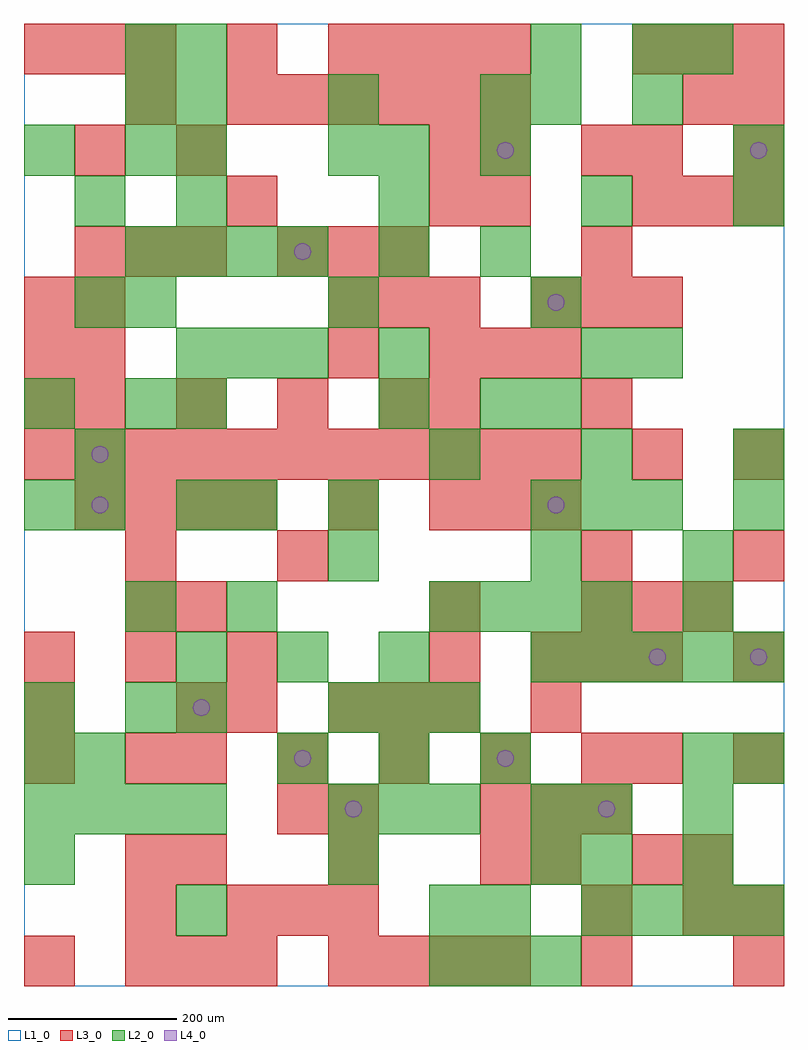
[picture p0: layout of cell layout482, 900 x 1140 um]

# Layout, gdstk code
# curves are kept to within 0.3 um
import gdstk
lib = gdstk.Library(unit=1e-6, precision=1e-09)
def R(c, l, rs):  # rectangles x0, y0, x1, y1
    for r in rs: c.add(gdstk.rectangle(r[:2], r[2:], *l))
def A(c, l, x, y, w, h, nx, ny, dx, dy):  # array of equal rectangles
    R(c, l, [(x+i*dx, y+j*dy, x+i*dx+w, y+j*dy+h) for i in range(nx) for j in range(ny)])
def P(c, l, *ps):  # polygons
    for p in ps: c.add(gdstk.Polygon(p, *l))
L1_0 = (1, 0)
L2_0 = (2, 0)
L3_0 = (3, 0)
L4_0 = (4, 0)

layout482 = lib.new_cell('layout482')
R(layout482, L1_0, [(0,0,900,1140)])
A(layout482, L2_0, 480, 0, 60, 60, 3, 1, 60, 0)
A(layout482, L2_0, 180, 60, 60, 60, 1, 3, 0, 240)
A(layout482, L2_0, 660, 60, 60, 60, 4, 1, 60, 0)
A(layout482, L2_0, 780, 120, 60, 60, 1, 3, 0, 60)
A(layout482, L2_0, 0, 180, 60, 60, 4, 1, 60, 0)
A(layout482, L2_0, 360, 180, 60, 60, 3, 2, 60, 120)
A(layout482, L2_0, 300, 240, 60, 60, 3, 1, 120, 0)
A(layout482, L2_0, 180, 360, 60, 60, 3, 1, 120, 0)
A(layout482, L2_0, 600, 360, 60, 60, 5, 1, 60, 0)
A(layout482, L2_0, 480, 420, 60, 60, 4, 1, 60, 0)
A(layout482, L2_0, 600, 540, 60, 60, 3, 1, 60, 0)
A(layout482, L2_0, 480, 600, 60, 60, 3, 1, 180, 0)
A(layout482, L2_0, 180, 720, 60, 60, 3, 1, 60, 0)
A(layout482, L2_0, 420, 720, 60, 60, 1, 3, 0, 120)
A(layout482, L2_0, 120, 780, 60, 60, 3, 1, 240, 0)
A(layout482, L2_0, 120, 840, 60, 60, 4, 1, 60, 0)
A(layout482, L2_0, 180, 900, 60, 60, 3, 1, 240, 0)
A(layout482, L2_0, 120, 960, 60, 60, 1, 3, 0, 60)
A(layout482, L2_0, 180, 1020, 60, 60, 3, 1, 180, 0)
R(layout482, L2_0, [(480,60,540,120), (540,60,600,120), (0,120,60,180), (360,120,420,180), (600,120,660,180), (660,120,720,180), (600,180,660,240), (660,180,720,240), (0,240,60,300), (60,240,120,300), (840,240,900,300), (0,300,60,360), (120,300,180,360), (120,420,180,480), (240,420,300,480), (780,420,840,480), (360,480,420,540), (600,480,660,540), (780,480,840,540), (0,540,60,600), (60,540,120,600), (240,540,300,600), (360,540,420,600), (840,540,900,600), (60,600,120,660), (0,660,60,720), (120,660,180,720), (180,660,240,720), (420,660,480,720), (540,660,600,720), (600,660,660,720), (660,720,720,780), (720,720,780,780), (60,780,120,840), (540,840,600,900), (60,900,120,960), (840,900,900,960), (0,960,60,1020), (180,960,240,1020), (360,960,420,1020), (540,960,600,1020), (840,960,900,1020), (600,1020,660,1080), (720,1020,780,1080), (180,1080,240,1140), (600,1080,660,1140), (720,1080,780,1140), (780,1080,840,1140)])
A(layout482, L3_0, 120, 0, 60, 60, 3, 1, 60, 0)
A(layout482, L3_0, 360, 0, 60, 60, 4, 2, 60, 1080)
A(layout482, L3_0, 240, 60, 60, 60, 3, 1, 60, 0)
A(layout482, L3_0, 180, 120, 60, 60, 3, 1, 180, 0)
A(layout482, L3_0, 540, 180, 60, 60, 3, 1, 60, 0)
A(layout482, L3_0, 180, 240, 60, 60, 5, 1, 120, 0)
A(layout482, L3_0, 720, 240, 60, 60, 1, 3, 0, 360)
A(layout482, L3_0, 840, 240, 60, 60, 1, 4, 0, 120)
A(layout482, L3_0, 360, 300, 60, 60, 3, 2, 60, 480)
A(layout482, L3_0, 0, 360, 60, 60, 3, 1, 120, 0)
A(layout482, L3_0, 600, 360, 60, 60, 3, 2, 60, 420)
A(layout482, L3_0, 480, 420, 60, 60, 1, 3, 0, 240)
A(layout482, L3_0, 660, 420, 60, 60, 3, 1, 60, 0)
A(layout482, L3_0, 660, 480, 60, 60, 1, 3, 0, 180)
A(layout482, L3_0, 60, 540, 60, 60, 4, 1, 60, 0)
A(layout482, L3_0, 480, 540, 60, 60, 3, 2, 60, 180)
A(layout482, L3_0, 0, 600, 60, 60, 11, 1, 60, 0)
A(layout482, L3_0, 0, 660, 60, 60, 1, 3, 0, 60)
A(layout482, L3_0, 60, 660, 60, 60, 4, 1, 120, 0)
A(layout482, L3_0, 60, 840, 60, 60, 3, 1, 60, 0)
A(layout482, L3_0, 300, 840, 60, 60, 3, 1, 60, 0)
A(layout482, L3_0, 720, 900, 60, 60, 3, 2, 60, 180)
A(layout482, L3_0, 240, 1020, 60, 60, 6, 1, 60, 0)
A(layout482, L3_0, 0, 1080, 60, 60, 3, 1, 60, 0)
R(layout482, L3_0, [(0,0,60,60), (660,0,720,60), (840,0,900,60), (120,60,180,120), (660,60,720,120), (780,60,840,120), (840,60,900,120), (120,120,180,180), (600,120,660,180), (720,120,780,180), (780,120,840,180), (300,180,360,240), (360,180,420,240), (0,240,60,300), (120,240,180,300), (0,300,60,360), (180,300,240,360), (240,300,300,360), (600,300,660,360), (480,360,540,420), (120,420,180,480), (180,420,240,480), (120,480,180,540), (300,480,360,540), (360,540,420,600), (60,720,120,780), (360,720,420,780), (60,780,120,840), (240,900,300,960), (540,900,600,960), (60,960,120,1020), (180,960,240,1020), (480,960,540,1020), (540,960,600,1020), (660,960,720,1020), (840,960,900,1020), (120,1020,180,1080), (780,1020,840,1080), (840,1020,900,1080), (240,1080,300,1140)])
P(layout482, L4_0, [(100,570),(99.239,573.827),(97.071,577.071),(93.827,579.239),(90,580),(86.173,579.239),(82.929,577.071),(80.761,573.827),(80,570),(80.761,566.173),(82.929,562.929),(86.173,560.761),(90,560),(93.827,560.761),(97.071,562.929),(99.239,566.173)],
  [(100,630),(99.239,633.827),(97.071,637.071),(93.827,639.239),(90,640),(86.173,639.239),(82.929,637.071),(80.761,633.827),(80,630),(80.761,626.173),(82.929,622.929),(86.173,620.761),(90,620),(93.827,620.761),(97.071,622.929),(99.239,626.173)],
  [(220,330),(219.239,333.827),(217.071,337.071),(213.827,339.239),(210,340),(206.173,339.239),(202.929,337.071),(200.761,333.827),(200,330),(200.761,326.173),(202.929,322.929),(206.173,320.761),(210,320),(213.827,320.761),(217.071,322.929),(219.239,326.173)],
  [(340,270),(339.239,273.827),(337.071,277.071),(333.827,279.239),(330,280),(326.173,279.239),(322.929,277.071),(320.761,273.827),(320,270),(320.761,266.173),(322.929,262.929),(326.173,260.761),(330,260),(333.827,260.761),(337.071,262.929),(339.239,266.173)],
  [(340,870),(339.239,873.827),(337.071,877.071),(333.827,879.239),(330,880),(326.173,879.239),(322.929,877.071),(320.761,873.827),(320,870),(320.761,866.173),(322.929,862.929),(326.173,860.761),(330,860),(333.827,860.761),(337.071,862.929),(339.239,866.173)],
  [(400,210),(399.239,213.827),(397.071,217.071),(393.827,219.239),(390,220),(386.173,219.239),(382.929,217.071),(380.761,213.827),(380,210),(380.761,206.173),(382.929,202.929),(386.173,200.761),(390,200),(393.827,200.761),(397.071,202.929),(399.239,206.173)],
  [(580,270),(579.239,273.827),(577.071,277.071),(573.827,279.239),(570,280),(566.173,279.239),(562.929,277.071),(560.761,273.827),(560,270),(560.761,266.173),(562.929,262.929),(566.173,260.761),(570,260),(573.827,260.761),(577.071,262.929),(579.239,266.173)],
  [(580,990),(579.239,993.827),(577.071,997.071),(573.827,999.239),(570,1000),(566.173,999.239),(562.929,997.071),(560.761,993.827),(560,990),(560.761,986.173),(562.929,982.929),(566.173,980.761),(570,980),(573.827,980.761),(577.071,982.929),(579.239,986.173)],
  [(640,570),(639.239,573.827),(637.071,577.071),(633.827,579.239),(630,580),(626.173,579.239),(622.929,577.071),(620.761,573.827),(620,570),(620.761,566.173),(622.929,562.929),(626.173,560.761),(630,560),(633.827,560.761),(637.071,562.929),(639.239,566.173)],
  [(640,810),(639.239,813.827),(637.071,817.071),(633.827,819.239),(630,820),(626.173,819.239),(622.929,817.071),(620.761,813.827),(620,810),(620.761,806.173),(622.929,802.929),(626.173,800.761),(630,800),(633.827,800.761),(637.071,802.929),(639.239,806.173)],
  [(700,210),(699.239,213.827),(697.071,217.071),(693.827,219.239),(690,220),(686.173,219.239),(682.929,217.071),(680.761,213.827),(680,210),(680.761,206.173),(682.929,202.929),(686.173,200.761),(690,200),(693.827,200.761),(697.071,202.929),(699.239,206.173)],
  [(760,390),(759.239,393.827),(757.071,397.071),(753.827,399.239),(750,400),(746.173,399.239),(742.929,397.071),(740.761,393.827),(740,390),(740.761,386.173),(742.929,382.929),(746.173,380.761),(750,380),(753.827,380.761),(757.071,382.929),(759.239,386.173)],
  [(880,390),(879.239,393.827),(877.071,397.071),(873.827,399.239),(870,400),(866.173,399.239),(862.929,397.071),(860.761,393.827),(860,390),(860.761,386.173),(862.929,382.929),(866.173,380.761),(870,380),(873.827,380.761),(877.071,382.929),(879.239,386.173)],
  [(880,990),(879.239,993.827),(877.071,997.071),(873.827,999.239),(870,1000),(866.173,999.239),(862.929,997.071),(860.761,993.827),(860,990),(860.761,986.173),(862.929,982.929),(866.173,980.761),(870,980),(873.827,980.761),(877.071,982.929),(879.239,986.173)])

lib.write_gds('layout482.gds')
